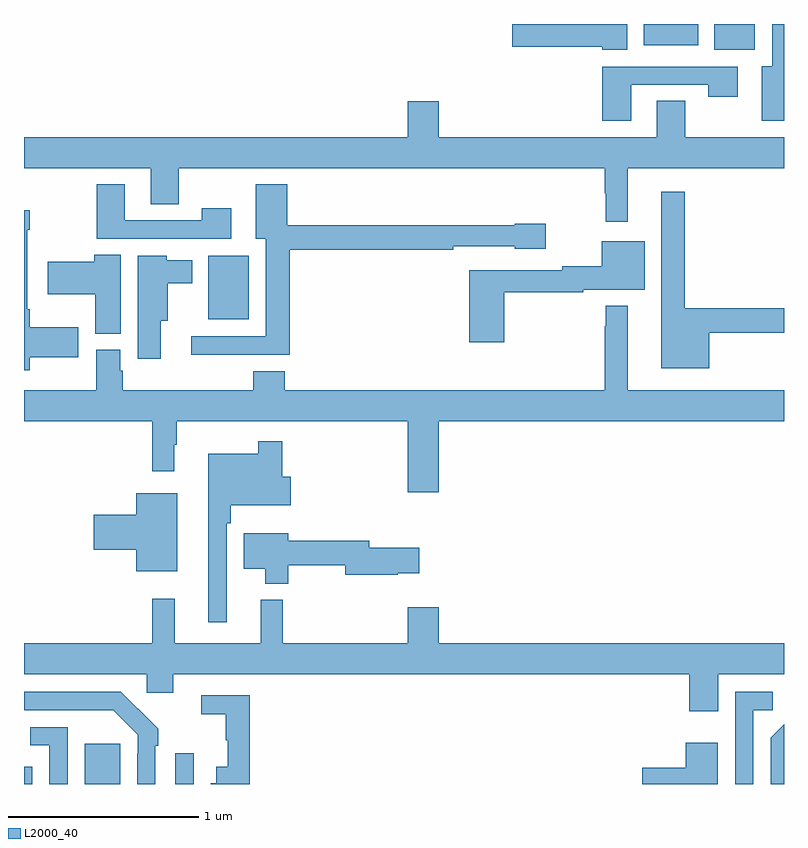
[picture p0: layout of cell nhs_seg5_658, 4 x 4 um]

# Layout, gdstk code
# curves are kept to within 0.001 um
import gdstk
lib = gdstk.Library(unit=1e-6, precision=1e-09)
def R(c, l, rs):  # rectangles x0, y0, x1, y1
    for r in rs: c.add(gdstk.rectangle(r[:2], r[2:], *l))
def P(c, l, *ps):  # polygons
    for p in ps: c.add(gdstk.Polygon(p, *l))
L2000_40 = (2000, 40)

nhs_seg5_658 = lib.new_cell('nhs_seg5_658')
R(nhs_seg5_658, L2000_40, [(151,906.799,151.044,906.889), (151.319,906.799,151.507,907.012), (151.797,906.799,151.893,906.961), (151.97,909.245,152.182,909.58), (154.634,910.664,154.846,910.799), (154.262,910.688,154.549,910.799)])
P(nhs_seg5_658, L2000_40, [(155,910.799),(154.937,910.799),(154.937,910.576),(154.883,910.576),(154.883,910.29),(155,910.29)],
  [(154.174,910.799),(153.57,910.799),(153.57,910.678),(154.044,910.678),(154.044,910.664),(154.174,910.664)],
  [(154.195,910.479),(154.6,910.479),(154.6,910.416),(154.756,910.416),(154.756,910.575),(154.043,910.575),(154.043,910.29),(154.195,910.29)],
  [(154.177,910.04),(155,910.04),(155,910.204),(154.479,910.204),(154.479,910.394),(154.331,910.394),(154.331,910.204),(153.184,910.204),(153.184,910.393),(153.02,910.393),(153.02,910.204),(151,910.204),(151,910.04),(151.667,910.04),(151.667,909.85),(151.815,909.85),(151.815,910.04),(154.056,910.04),(154.056,909.908),(154.063,909.908),(154.063,909.759),(154.177,909.759)],
  [(152.092,909.829),(151.936,909.829),(151.936,909.765),(151.531,909.765),(151.531,909.955),(151.384,909.955),(151.384,909.669),(152.092,909.669)],
  [(152.399,909.61),(153.26,909.61),(153.26,909.63),(153.582,909.63),(153.582,909.617),(153.745,909.617),(153.745,909.747),(153.582,909.747),(153.582,909.739),(152.386,909.739),(152.386,909.955),(152.219,909.955),(152.219,909.668),(152.273,909.668),(152.273,909.156),(151.881,909.156),(151.881,909.059),(152.399,909.059)],
  [(154.606,909.174),(155,909.174),(155,909.302),(154.477,909.302),(154.477,909.916),(154.355,909.916),(154.355,908.987),(154.606,908.987)],
  [(151.03,909.044),(151.285,909.044),(151.285,909.202),(151.03,909.202),(151.03,909.298),(151.017,909.298),(151.017,909.716),(151.03,909.716),(151.03,909.819),(151,909.819),(151,908.976),(151.03,908.976)],
  [(153.527,909.388),(153.944,909.388),(153.944,909.401),(154.267,909.401),(154.267,909.655),(154.04,909.655),(154.04,909.524),(153.832,909.524),(153.832,909.504),(153.344,909.504),(153.344,909.123),(153.527,909.123)],
  [(151.51,909.584),(151.369,909.584),(151.369,909.548),(151.125,909.548),(151.125,909.377),(151.376,909.377),(151.376,909.169),(151.51,909.169)],
  [(151.72,909.236),(151.756,909.236),(151.756,909.434),(151.885,909.434),(151.885,909.556),(151.752,909.556),(151.752,909.58),(151.598,909.58),(151.598,909.036),(151.72,909.036)],
  [(152.207,908.971),(152.207,908.872),(151.52,908.872),(151.52,908.973),(151.507,908.973),(151.507,909.084),(151.379,909.084),(151.379,908.872),(151,908.872),(151,908.708),(151.675,908.708),(151.675,908.445),(151.792,908.445),(151.792,908.585),(151.804,908.585),(151.804,908.708),(153.02,908.708),(153.02,908.334),(153.184,908.334),(153.184,908.708),(155,908.708),(155,908.872),(154.177,908.872),(154.177,909.316),(154.062,909.316),(154.062,909.209),(154.056,909.209),(154.056,908.872),(152.372,908.872),(152.372,908.971)],
  [(152.067,908.171),(152.087,908.171),(152.087,908.267),(152.404,908.267),(152.404,908.415),(152.36,908.415),(152.36,908.602),(152.232,908.602),(152.232,908.536),(151.97,908.536),(151.97,907.65),(152.067,907.65)],
  [(151.807,908.329),(151.592,908.329),(151.592,908.216),(151.368,908.216),(151.368,908.033),(151.592,908.033),(151.592,907.919),(151.807,907.919)],
  [(152.392,907.95),(152.69,907.95),(152.69,907.9),(152.966,907.9),(152.966,907.907),(153.079,907.907),(153.079,908.042),(152.818,908.042),(152.818,908.078),(152.392,908.078),(152.392,908.119),(152.156,908.119),(152.156,907.931),(152.27,907.931),(152.27,907.853),(152.392,907.853)],
  [(154.654,907.376),(155,907.376),(155,907.54),(153.184,907.54),(153.184,907.729),(153.02,907.729),(153.02,907.54),(152.363,907.54),(152.363,907.768),(152.246,907.768),(152.246,907.54),(151.793,907.54),(151.793,907.774),(151.675,907.774),(151.675,907.54),(151,907.54),(151,907.376),(151.647,907.376),(151.647,907.278),(151.786,907.278),(151.786,907.376),(154.502,907.376),(154.502,907.182),(154.654,907.182)],
  [(151.692,907.001),(151.707,907.001),(151.707,907.089),(151.51,907.284),(151,907.284),(151,907.188),(151.471,907.188),(151.599,907.059),(151.599,906.959),(151.596,906.959),(151.596,906.799),(151.692,906.799)],
  [(154.839,907.188),(154.942,907.188),(154.942,907.284),(154.743,907.284),(154.743,906.799),(154.839,906.799)],
  [(152.189,907.266),(151.932,907.266),(151.932,907.165),(152.061,907.165),(152.061,907.029),(152.072,907.029),(152.072,906.889),(152.012,906.889),(152.012,906.802),(151.982,906.802),(151.982,906.799),(152.189,906.799)],
  [(155,907.114),(154.929,907.042),(154.929,906.799),(155,906.799)],
  [(151.23,907.098),(151.032,907.098),(151.032,907.002),(151.134,907.002),(151.134,906.799),(151.23,906.799)],
  [(154.651,907.015),(154.484,907.015),(154.484,906.884),(154.254,906.884),(154.254,906.799),(154.651,906.799)])

lib.write_gds('nhs_seg5_658.gds')
